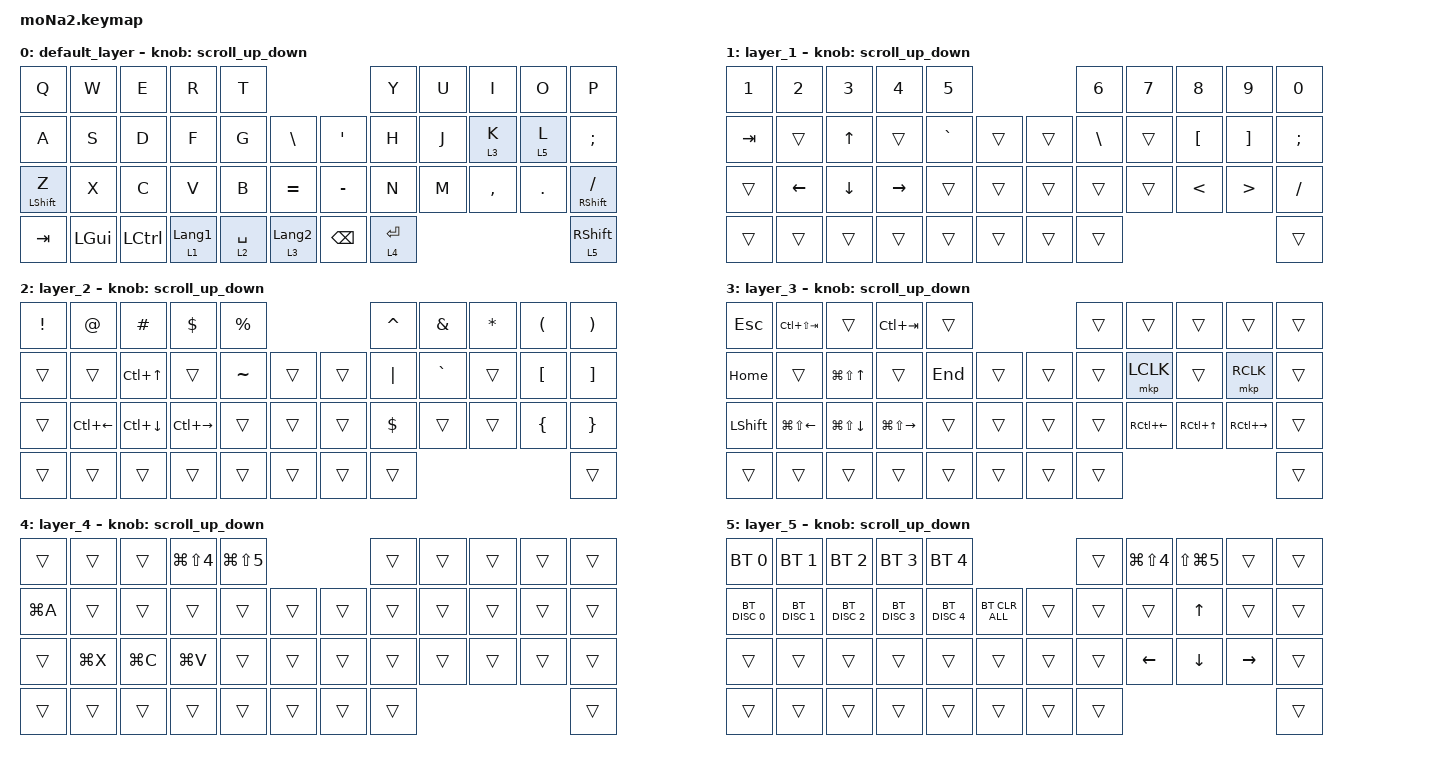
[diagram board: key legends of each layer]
#include <behaviors.dtsi>
#include <dt-bindings/zmk/bt.h>
#include <dt-bindings/zmk/keys.h>
#include <dt-bindings/zmk/pointing.h>

#define ZMK_POINTING_DEFAULT_SCRL_VAL 100
#define MOUSE 6

&mt {
    flavor = "balanced";
    quick-tap-ms = <0>;
};

/ {
    combos { compatible = "zmk,combos"; };

    macros {
        to_layer_0: to_layer_0 {
            compatible = "zmk,behavior-macro-one-param";
            #binding-cells = <1>;
            bindings = <&to 0 &macro_param_1to1 &kp MACRO_PLACEHOLDER>;
            label = "TO_LAYER_0";
        };
    };

    behaviors {
        lt_to_layer_0: lt_to_layer_0 {
            compatible = "zmk,behavior-hold-tap";
            label = "LAYER_TAP_TO_0";
            bindings = <&mo>, <&to_layer_0>;

            #binding-cells = <2>;
            tapping-term-ms = <200>;
        };

        scroll_up_down: behavior_sensor_rotate_mouse_wheel_up_down {
            compatible = "zmk,behavior-sensor-rotate";
            #sensor-binding-cells = <0>;
            bindings = <&msc SCRL_UP>, <&msc SCRL_DOWN>;

            tap-ms = <20>;
        };
    };

    keymap {
        compatible = "zmk,keymap";

        default_layer {
            bindings = <
&kp Q             &kp W         &kp E      &kp R             &kp T                                              &kp Y        &kp U  &kp I      &kp O    &kp P
&kp A             &kp S         &kp D      &kp F             &kp G        &kp BACKSLASH       &kp SINGLE_QUOTE  &kp H        &kp J  &lt 3 K    &lt 5 L  &kp SEMI
&mt LEFT_SHIFT Z  &kp X         &kp C      &kp V             &kp B        &kp EQUAL           &kp MINUS         &kp N        &kp M  &kp COMMA  &kp DOT  &mt RIGHT_SHIFT SLASH
&kp TAB           &kp LEFT_GUI  &kp LCTRL  &lt 1 LANGUAGE_1  &lt 2 SPACE  &lt 3 LANGUAGE_2    &kp BACKSPACE     &lt 4 ENTER                             &lt 5 RIGHT_SHIFT
            >;

            sensor-bindings = <&scroll_up_down>;
        };

        layer_1 {
            bindings = <
&kp NUMBER_1  &kp NUMBER_2  &kp NUMBER_3  &kp NUMBER_4  &kp NUMBER_5                    &kp NUMBER_6   &kp NUMBER_7  &kp NUMBER_8      &kp NUMBER_9       &kp NUMBER_0
&kp TAB       &trans        &kp UP        &trans        &kp GRAVE     &trans    &trans  &kp BACKSLASH  &trans        &kp LEFT_BRACKET  &kp RIGHT_BRACKET  &kp SEMICOLON
&trans        &kp LEFT      &kp DOWN      &kp RIGHT     &trans        &trans    &trans  &trans         &trans        &kp LESS_THAN     &kp GREATER_THAN   &kp SLASH
&trans        &trans        &trans        &trans        &trans        &trans    &trans  &trans                                                            &trans
            >;

            sensor-bindings = <&scroll_up_down>;
        };

        layer_2 {
            bindings = <
&kp EXCLAMATION  &kp AT_SIGN   &kp HASH      &kp DOLLAR     &kp PERCENT                    &kp CARET   &kp AMPERSAND  &kp ASTERISK  &kp LEFT_PARENTHESIS  &kp RIGHT_PARENTHESIS
&trans           &trans        &kp LC(UP)    &trans         &kp TILDE    &trans    &trans  &kp PIPE    &kp GRAVE      &trans        &kp LEFT_BRACKET      &kp RIGHT_BRACKET
&trans           &kp LC(LEFT)  &kp LC(DOWN)  &kp LC(RIGHT)  &trans       &trans    &trans  &kp DOLLAR  &trans         &trans        &kp LEFT_BRACE        &kp RIGHT_BRACE
&trans           &trans        &trans        &trans         &trans       &trans    &trans  &trans                                                         &trans
            >;

            sensor-bindings = <&scroll_up_down>;
        };

        layer_3 {
            bindings = <
&kp ESCAPE      &kp LC(LS(TAB))         &trans            &kp LC(TAB)              &trans                     &trans  &trans              &trans            &trans               &trans
&kp HOME        &trans                  &kp LG(LS(UP))    &trans                   &kp END  &trans    &trans  &trans  &mkp LCLK           &trans            &mkp RCLK            &trans
&kp LEFT_SHIFT  &kp LG(LS(LEFT_ARROW))  &kp LG(LS(DOWN))  &kp LG(LS(RIGHT_ARROW))  &trans   &trans    &trans  &trans  &kp RC(LEFT_ARROW)  &kp RC(UP_ARROW)  &kp RC(RIGHT_ARROW)  &trans
&trans          &trans                  &trans            &trans                   &trans   &trans    &trans  &trans                                                             &trans
            >;

            sensor-bindings = <&scroll_up_down>;
        };

        layer_4 {
            bindings = <
&trans     &trans     &trans     &kp LG(LS(NUMBER_4))  &kp LG(LS(N5))                    &trans  &trans  &trans  &trans  &trans
&kp LG(A)  &trans     &trans     &trans                &trans          &trans    &trans  &trans  &trans  &trans  &trans  &trans
&trans     &kp LG(X)  &kp LG(C)  &kp LG(V)             &trans          &trans    &trans  &trans  &trans  &trans  &trans  &trans
&trans     &trans     &trans     &trans                &trans          &trans    &trans  &trans                          &trans
            >;

            sensor-bindings = <&scroll_up_down>;
        };

        layer_5 {
            bindings = <
&bt BT_SEL 0   &bt BT_SEL 1   &bt BT_SEL 2   &bt BT_SEL 3   &bt BT_SEL 4                             &trans  &kp LG(LS(NUMBER_4))  &kp LS(LG(N5))  &trans           &trans
&bt BT_DISC 0  &bt BT_DISC 1  &bt BT_DISC 2  &bt BT_DISC 3  &bt BT_DISC 4  &bt BT_CLR_ALL    &trans  &trans  &trans                &kp UP_ARROW    &trans           &trans
&trans         &trans         &trans         &trans         &trans         &trans            &trans  &trans  &kp LEFT_ARROW        &kp DOWN_ARROW  &kp RIGHT_ARROW  &trans
&trans         &trans         &trans         &trans         &trans         &trans            &trans  &trans                                                         &trans
            >;

            sensor-bindings = <&scroll_up_down>;
        };
    };
};
